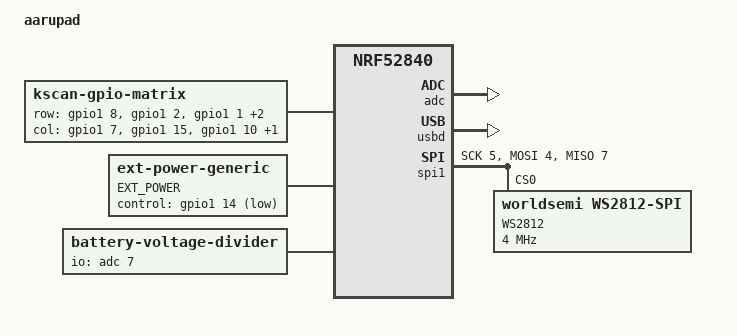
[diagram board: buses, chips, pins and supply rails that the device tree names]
/*
 * Copyright (c) 2020 The ZMK Contributors
 *
 * SPDX-License-Identifier: MIT
 */

/dts-v1/;
#include <nordic/nrf52840_qiaa.dtsi>
#include <dt-bindings/zmk/matrix-transform.h>

/ {
	model = "aarupad";
	compatible = "aarupad";

	chosen {
		zephyr,code-partition = &code_partition;
		zephyr,sram = &sram0;
		zephyr,flash = &flash0;
		zmk,kscan = &kscan0;
		zmk,underglow = &led_strip;
	};
 
	kscan0: kscan {
		compatible = "zmk,kscan-gpio-matrix";
		label = "KSCAN";
		diode-direction = "col2row";
		row-gpios
			= <&gpio1 8 (GPIO_ACTIVE_HIGH | GPIO_PULL_DOWN)>
			, <&gpio1 2 (GPIO_ACTIVE_HIGH | GPIO_PULL_DOWN)>
			, <&gpio1 1 (GPIO_ACTIVE_HIGH | GPIO_PULL_DOWN)>
			, <&gpio1 13  (GPIO_ACTIVE_HIGH | GPIO_PULL_DOWN)>
			, <&gpio1 12  (GPIO_ACTIVE_HIGH | GPIO_PULL_DOWN)>
			;
		col-gpios
			= <&gpio1 7  GPIO_ACTIVE_HIGH>
			, <&gpio1 15  GPIO_ACTIVE_HIGH>
			, <&gpio1 10 GPIO_ACTIVE_HIGH>
			, <&gpio1 11  GPIO_ACTIVE_HIGH>
			;
	};

	// sensors {
    // 	compatible = "zmk,keymap-sensors";
    // 	sensors = <&left_encoder>;
	// };

	// left_encoder: encoder_left {
    //     compatible = "alps,ec11";
    //     label = "LEFT_ENCODER";
    //     a-gpios = <&gpio1 11 (GPIO_ACTIVE_HIGH | GPIO_PULL_UP)>;
    //     b-gpios = <&gpio1 10 (GPIO_ACTIVE_HIGH | GPIO_PULL_UP)>;
    //     resolution = <2>;
    // };

	ext-power {
		compatible = "zmk,ext-power-generic";
		label = "EXT_POWER";
		control-gpios = <&gpio1 14 GPIO_ACTIVE_LOW>;
	};

	vbatt {
		compatible = "zmk,battery-voltage-divider";
		label = "BATTERY";
		io-channels = <&adc 7>;
		output-ohms = <2000000>;
		full-ohms = <(2000000 + 806000)>;
	};
};

&adc {
	status = "okay";
};

&gpio0 {
	status = "disabled";
};

&gpio1 {
	status = "okay";
};

// &i2c0 {
//     compatible = "nordic,nrf-twi";
//     status = "okay";
//     sda-pin = <(32 + 9)>;
//     scl-pin = <5>;
//     // TODO: Zephyr 2.5
//     // sda-gpios = <&gpio1 9 0>;
//     // scl-gpios = <&gpio0 5 0>;

//     fuel_gauge: max17055@36 {
//         compatible = "maxim,max17055";
//         label = "max17055";
//         reg = <0x36>;

//         // TODO: Zephyr 2.6
//         // design-capacity = <1200>;
//         design-voltage = <3700>;
//         desired-voltage = <4200>;
//         desired-charging-current = <400>;
//         // i-chg-term = <30>;
//         rsense-mohms = <5>;
//         // v-empty = <3000>;
//     };
// };

&usbd {
	status = "okay";
};

&spi1 {
  compatible = "nordic,nrf-spim";
  status = "okay";
  mosi-pin = <4>;
  // Unused pins, needed for SPI definition, but not used by the ws2812 driver itself.
  sck-pin = <5>;
  miso-pin = <7>;

  led_strip: ws2812@0 {
    compatible = "worldsemi,ws2812-spi";
    label = "WS2812";

    /* SPI */
    reg = <0>; /* ignored, but necessary for SPI bindings */
    spi-max-frequency = <4000000>;

    /* WS2812 */
    chain-length = <17>; /* number of LEDs */
    spi-one-frame = <0x70>;
    spi-zero-frame = <0x40>;
  };
};


&flash0 {
	/*
	 * For more information, see:
	 * http://docs.zephyrproject.org/latest/devices/dts/flash_partitions.html
	 */
	partitions {
		compatible = "fixed-partitions";
		#address-cells = <1>;
		#size-cells = <1>;

		sd_partition: partition@0 {
			label = "softdevice";
			reg = <0x00000000 0x00026000>;
		};
		code_partition: partition@26000 {
			label = "code_partition";
			reg = <0x00026000 0x000c6000>;
		};

		/*
		 * The flash starting at 0x000ec000 and ending at
		 * 0x000f3fff is reserved for use by the application.
		 */

		/*
		 * Storage partition will be used by FCB/LittleFS/NVS
		 * if enabled.
		 */
		storage_partition: partition@ec000 {
			label = "storage";
			reg = <0x000ec000 0x00008000>;
		};

		boot_partition: partition@f4000 {
			label = "adafruit_boot";
			reg = <0x000f4000 0x0000c000>;
		};
	};
};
